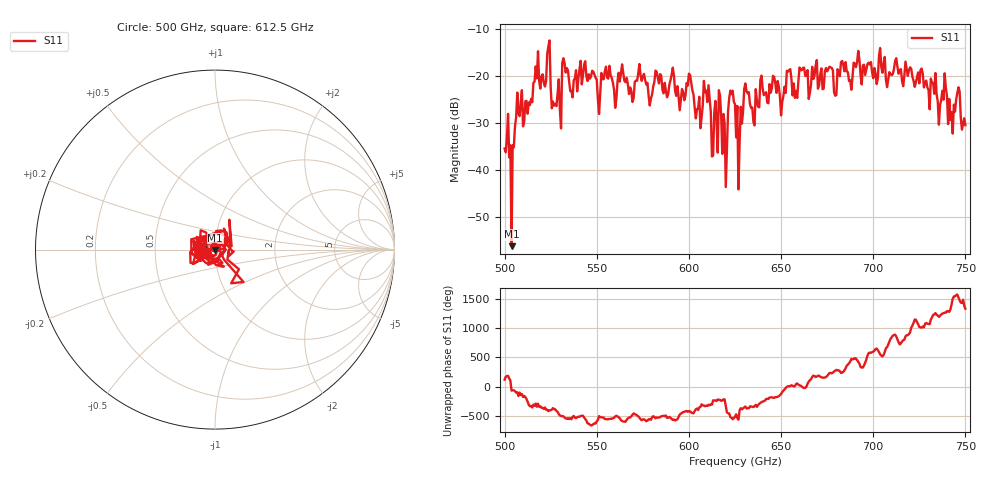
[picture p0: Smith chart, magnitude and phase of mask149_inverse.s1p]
!Created with skrf (http://scikit-rf.org).
# GHz S MA R 50.0
!freq magS11 angS11
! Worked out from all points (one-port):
!   401 points, 500 GHz to 750 GHz, reference 50 ohm
!   lowest |S11| = -56.2 dB at 503.8 GHz (marker M1), VSWR 1.00, Z = 50.1 - j0.145 ohm
!   |S11| at or under -10 dB: start of sweep to end of sweep
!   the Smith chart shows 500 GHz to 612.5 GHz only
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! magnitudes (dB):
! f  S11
! 500 GHz  -35.4
! 503.8 GHz  -56.2
! 508.1 GHz  -28.5
! 513.8 GHz  -26.1
! 516.9 GHz  -17.9
! 523.8 GHz  -13.6
! 526.9 GHz  -26.3
! 531.2 GHz  -17.3
! 562.5 GHz  -21.1
! 593.8 GHz  -22.1
! 600 GHz  -19.5
! 605.6 GHz  -24.4
! 609.4 GHz  -23.1
! 612.5 GHz  -37.1
! 617.5 GHz  -28.6
! 619.4 GHz  -30.1
! 622.5 GHz  -23.1
! 625 GHz  -26.0
! 626.9 GHz  -44.1
! 631.2 GHz  -23.2
! 634.4 GHz  -26.7
! 640 GHz  -22.6
! 656.2 GHz  -24.1
! 687.5 GHz  -20.9
! 718.8 GHz  -19.9
! 741.9 GHz  -29.3
! 745.6 GHz  -23.6
! 750 GHz  -30.4
